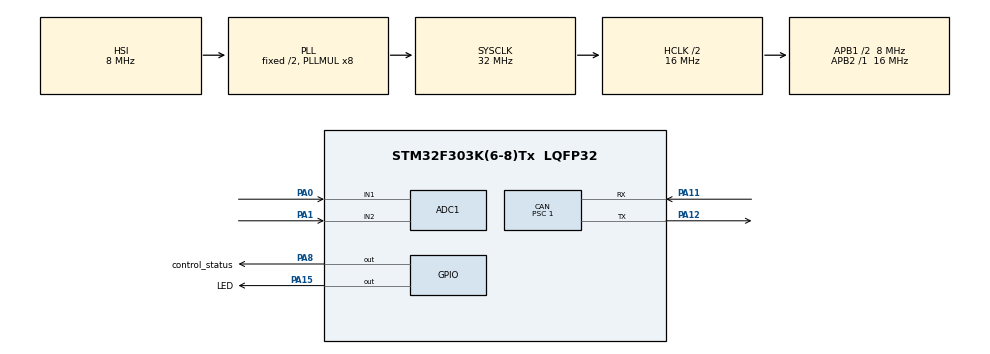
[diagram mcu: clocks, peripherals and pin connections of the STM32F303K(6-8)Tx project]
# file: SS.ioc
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ADC1.Channel-0\#ChannelRegularConversion=ADC_CHANNEL_1
ADC1.ContinuousConvMode=ENABLE
ADC1.NbrOfConversionFlag=1
ADC1.Offset-0\#ChannelRegularConversion=0
ADC1.OffsetNumber-0\#ChannelRegularConversion=ADC_OFFSET_NONE
ADC1.Rank-0\#ChannelRegularConversion=1
ADC1.SamplingTime-0\#ChannelRegularConversion=ADC_SAMPLETIME_1CYCLE_5
ADC1.SubFamily=STM32F303x8
ADC1.master=1
CAN.ABOM=ENABLE
CAN.BS1=CAN_BS1_13TQ
CAN.BS2=CAN_BS2_2TQ
CAN.CalculateBaudRate=500000
CAN.CalculateTimeBit=2000
CAN.CalculateTimeQuantum=125.0
CAN.Mode=CAN_MODE_NORMAL
CAN.NART=ENABLE
CAN.Prescaler=1
Mcu.Family=STM32F3
Mcu.Name=STM32F303K(6-8)Tx
Mcu.Package=LQFP32
NVIC.CAN_RX0_IRQn=true\:0\:0\:false\:false\:true\:true\:true\:true
NVIC.CAN_SCE_IRQn=true\:0\:0\:false\:false\:true\:true\:true\:true
NVIC.CAN_TX_IRQn=true\:0\:0\:false\:false\:true\:true\:true\:true
NVIC.PriorityGroup=NVIC_PRIORITYGROUP_4
PA0.Mode=IN1-Single-Ended
PA0.Signal=ADC1_IN1
PA1.Mode=IN2-Single-Ended
PA1.Signal=ADC1_IN2
PA11.Mode=CAN_Activate
PA11.Signal=CAN_RX
PA12.Mode=CAN_Activate
PA12.Signal=CAN_TX
PA15.GPIO_Label=LED
PA15.Signal=GPIO_Output
PA8.GPIO_Label=control_status
PA8.Signal=GPIO_Output
ProjectManager.HeapSize=0x200
ProjectManager.StackSize=0x400
ProjectManager.TargetToolchain=STM32CubeIDE
RCC.ADC12PRES=RCC_ADC12PLLCLK_DIV16
RCC.AHBCLKDivider=RCC_SYSCLK_DIV2
RCC.AHBFreq_Value=16000000
RCC.APB1CLKDivider=RCC_HCLK_DIV2
RCC.APB1Freq_Value=8000000
RCC.APB1TimFreq_Value=16000000
RCC.APB2Freq_Value=16000000
RCC.APB2TimFreq_Value=16000000
RCC.CortexFreq_Value=16000000
RCC.HCLKFreq_Value=16000000
RCC.HSE_VALUE=8000000
RCC.HSI_VALUE=8000000
RCC.PLLMUL=RCC_PLL_MUL8
RCC.SYSCLKFreq_VALUE=32000000
RCC.SYSCLKSourceVirtual=RCC_SYSCLKSOURCE_PLLCLK
board=custom

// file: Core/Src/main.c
/* USER CODE BEGIN Header */
/**
  ******************************************************************************
  * @file           : main.c
  * @brief          : Main program body
  ******************************************************************************
  * @attention
  *
  * Copyright (c) 2026 STMicroelectronics.
  * All rights reserved.
  *
  * This software is licensed under terms that can be found in the LICENSE file
  * in the root directory of this software component.
  * If no LICENSE file comes with this software, it is provided AS-IS.
  *
  ******************************************************************************
  */
/* USER CODE END Header */
#include "main.h"

/* USER CODE BEGIN Includes */
#include "can_driver.h"
#include "app_sync_tick.h"
/* USER CODE END Includes */

/* USER CODE BEGIN PTD */
#define ADC_THRESHOLD         100      // Ponizej tej wartosci ADC -> podnapiecie
#define ADC_HYSTERESIS        20       // Powrot do normy dopiero powyzej THRESHOLD+HYST
#define LED_TOGGLE_MS         200      // Okres migania LED [ms]

/* DIAGNOSTYKA RX - przelacznik do bisekcji problemu z callbackiem:
 *   1 = przyjmuj KAZDA ramke z magistrali (filtr wylaczony)
 *   0 = tryb docelowy, tylko SAFE_STATE_ACTIV_ID
 * Jesli przy 1 callback wchodzi, a przy 0 nie - CANtool wysyla ramke
 * w zlym formacie (Extended zamiast Standard albo Remote zamiast Data). */
#define CAN_RX_PROMISCUOUS    1

/* Ramka SafeState_NODE - heartbeat wezla. ID i okres wg CAN_DB.dbc
 * (BO_ 3, GenMsgCycleTime 5000). Leci bezwarunkowo, bez kodow bledow. */
#define CAN_TX_ID_SAFESTATE   SAFE_STATE_NODE_ID
#define CAN_PERIOD_SS_MS      5000

/* Ramka SafeState_Activ - dokladana do schedulera na czas podnapiecia i
 * usuwana po powrocie do normy. Wg CAN_DB.dbc (BO_ 1) ma 8 bajtow i nie ma
 * zdefiniowanych sygnalow, dlatego payload jest zerowy.
 * DBC podaje GenMsgCycleTime 0 (ramka zdarzeniowa) - okres ponizej jest
 * naszym wyborem i wymaga uzgodnienia z zespolem. */
#define CAN_TX_ID_SS_ACTIV      SAFE_STATE_ACTIV_ID
#define CAN_DLC_SS_ACTIV        8
#define CAN_PERIOD_SS_ACTIV_MS  5000

/* Watchdog komendy throttle od JETSONa (BO_ 550 / BO_ 551).
 * Ramka z THROTTLE_ARM_VALUE uzbraja i odswieza stoper. Gdy przez
 * THROTTLE_TIMEOUT_MS nie przyjdzie kolejna, wysylamy te sama ramke
 * z THROTTLE_SAFE_VALUE i rozbrajamy stoper do nastepnego uzbrojenia. */
#define THROTTLE_DLC            8
#define THROTTLE_ARM_VALUE      1      // wartosc, ktora uzbraja stoper
#define THROTTLE_SAFE_VALUE     (-1)   // wysylane po przekroczeniu czasu
#define THROTTLE_TIMEOUT_MS     150
/* USER CODE END PTD */

ADC_HandleTypeDef hadc1;

CAN_HandleTypeDef hcan;

/* USER CODE BEGIN PV */
static volatile uint32_t adcValue = 0;
static volatile uint8_t rxHighPrio = 0; // High priority message received flag

/* Liczniki diagnostyczne - do podgladu debuggerem */
static volatile uint32_t canBusOffCount = 0;
static volatile uint32_t canErrorCount  = 0;

/* Stan detekcji podnapiecia (z histereza) */
static uint8_t adcUnderVoltage = 0;             // 1 = jestesmy ponizej progu
static volatile uint32_t ssActivCount = 0;      // ile razy weszlismy w podnapiecie

/* Diagnostyka RX - co faktycznie przyszlo z magistrali */
static volatile uint32_t canRxCount   = 0;
static volatile uint32_t canRxLastId  = 0;
static volatile uint8_t  canRxLastIde = 0;  // 0 = Standard, 4 = Extended
static volatile uint8_t  canRxLastRtr = 0;  // 0 = Data,     2 = Remote
static volatile uint8_t  canRxLastDlc = 0;

/* Watchdog komendy throttle - jeden wpis na silnik.
 * Pola pisane sa z przerwania RX, czytane w petli glownej -> volatile. */
typedef struct {
    uint16_t          id;             // ID monitorowanej ramki
    volatile uint8_t  armed;          // 1 = stoper biegnie
    volatile uint32_t lastRxTick;     // moment ostatniej ramki uzbrajajacej
    volatile uint32_t timeoutCount;   // diagnostyka: ile razy zadzialal
} ThrottleWatchdog_t;

static ThrottleWatchdog_t throttleWd[] = {
    { .id = JETSON_ENGINE_LEFT_RPDO1_ID  },
    { .id = JETSON_ENGINE_RIGHT_RPDO1_ID },
};
#define THROTTLE_WD_COUNT ((uint8_t)(sizeof(throttleWd) / sizeof(throttleWd[0])))

#if !CAN_RX_PROMISCUOUS
/* ID przyjmowane przez ten wezel - pozostale ramki odrzuca sprzet,
 * wiec callback RX w ogole sie dla nich nie uruchamia */
static const uint16_t canAcceptedIds[] = {
    SAFE_STATE_ACTIV_ID,            // 1   - aktywacja stanu bezpiecznego
    JETSON_ENGINE_LEFT_RPDO1_ID,    // 550 - throttle lewy
    JETSON_ENGINE_RIGHT_RPDO1_ID,   // 551 - throttle prawy
};
#define CAN_ACCEPTED_ID_COUNT ((uint8_t)(sizeof(canAcceptedIds) / sizeof(canAcceptedIds[0])))
#endif

static struct CAN_scheduledMsgList canScheduler = {0};

typedef struct {
    uint16_t ErrorCode;
    uint8_t  Severity;
    uint8_t  Node_Execution_Halted;
    uint8_t  Reserved;
    uint64_t Error_Specific_Data;
} SafeState_t;

static SafeState_t safeStateData = {0};
/* USER CODE END PV */

void SystemClock_Config(void);
static void MX_GPIO_Init(void);
static void MX_ADC1_Init(void);
static void MX_CAN_Init(void);

/* USER CODE BEGIN 0 */

/**
  * @brief Pakuje ramke SafeState_NODE wg CAN_DB.dbc (BO_ 3)
  *
  * ErrorCode 0|16@1+ | Reserved 16|4@1+ | Severity 20|3@1+
  * Node_Execution_Halted 23|1@1+ | Error_Specific_Data 24|40@1+
  */
static void SafeState_getData(uint8_t *data, void *context)
{
    (void)context;

    // Bajty 0-1: ErrorCode
    data[0] =  safeStateData.ErrorCode       & 0xFF;
    data[1] = (safeStateData.ErrorCode >> 8) & 0xFF;

    // Bajt 2: bits 16-23
    // [3:0] = Reserved, [6:4] = Severity, [7] = Node_Execution_Halted
    data[2] =  (safeStateData.Reserved            & 0x0F)
             | ((safeStateData.Severity            & 0x07) << 4)
             | ((safeStateData.Node_Execution_Halted & 0x01) << 7);

    // Bajty 3-7: Error_Specific_Data (40 bitów)
    data[3] =  safeStateData.Error_Specific_Data        & 0xFF;
    data[4] = (safeStateData.Error_Specific_Data >>  8) & 0xFF;
    data[5] = (safeStateData.Error_Specific_Data >> 16) & 0xFF;
    data[6] = (safeStateData.Error_Specific_Data >> 24) & 0xFF;
    data[7] = (safeStateData.Error_Specific_Data >> 32) & 0xFF;
}

/* USER CODE END 0 */

int main(void)
{

  /* MCU Configuration--------------------------------------------------------*/

  /* Reset of all peripherals, Initializes the Flash interface and the Systick. */
  HAL_Init();

  /* Configure the system clock */
  SystemClock_Config();

  /* Initialize all configured peripherals */
  MX_GPIO_Init();
  MX_ADC1_Init();
  MX_CAN_Init();
  /* USER CODE BEGIN 2 */

  if (HAL_ADCEx_Calibration_Start(&hadc1, ADC_SINGLE_ENDED) != HAL_OK)
      Error_Handler();

#if CAN_RX_PROMISCUOUS
  if (CAN_init(&hcan, NULL, 0) != HAL_OK)          // filtr wylaczony - patrz CAN_RX_PROMISCUOUS
#else
  if (CAN_init(&hcan, canAcceptedIds, CAN_ACCEPTED_ID_COUNT) != HAL_OK)
#endif
      Error_Handler();

  if (HAL_ADC_Start(&hadc1) != HAL_OK)
      Error_Handler();

  // Ramka SafeState_NODE - heartbeat wezla, leci bezwarunkowo
  struct CAN_scheduledMsg safeStateMsg = {
      .header = {
          .StdId              = CAN_TX_ID_SAFESTATE,
          .ExtId              = 0,
          .IDE                = CAN_ID_STD,
          .RTR                = CAN_RTR_DATA,
          .DLC                = 8,
          .TransmitGlobalTime = DISABLE,
      },
      .periodMs = CAN_PERIOD_SS_MS,
      .getData  = SafeState_getData,
      .context  = NULL,
  };
  if (CAN_addScheduledMessage(safeStateMsg, &canScheduler) != HAL_OK)
      Error_Handler();

  SyncTickTest_Init(&canScheduler);

  /* USER CODE END 2 */

  /* Infinite loop */
  /* USER CODE BEGIN WHILE */

  /* Szablon ramki SafeState_Activ. Nie jest rejestrowana od razu - trafia do
   * schedulera dopiero na czas podnapiecia. getData = NULL, bo payload ma byc
   * zerowy, a CAN_handleScheduled zeruje bufor przed wyslaniem. */
  struct CAN_scheduledMsg ssActivMsg = {
      .header = {
          .StdId              = CAN_TX_ID_SS_ACTIV,
          .ExtId              = 0,
          .IDE                = CAN_ID_STD,
          .RTR                = CAN_RTR_DATA,
          .DLC                = CAN_DLC_SS_ACTIV,
          .TransmitGlobalTime = DISABLE,
      },
      .periodMs = CAN_PERIOD_SS_ACTIV_MS,
      .getData  = NULL,
      .context  = NULL,
  };

  uint32_t lastLedToggle = 0;
  HAL_GPIO_WritePin(GPIOA, control_status_Pin, GPIO_PIN_SET);
  while (1)
  {
	  // 1. Pomiar ADC (tryb continuous - czekamy max 1 ms na EOC)
	  if (HAL_ADC_PollForConversion(&hadc1, 1) == HAL_OK)
	  {
		  adcValue = HAL_ADC_GetValue(&hadc1);
	  }

	  // 2. Detekcja zbocza podnapiecia. Na czas trwania bledu ramka
	  //    SafeState_Activ dolacza do schedulera i leci cyklicznie obok NODE.
	  //    Histereza chroni magistrale przed lawina, gdy pomiar drga wokol progu.
	  if (!adcUnderVoltage)
	  {
		  if (adcValue < ADC_THRESHOLD)
		  {
			  adcUnderVoltage = 1;
			  ssActivCount++;
			  (void)CAN_addScheduledMessage(ssActivMsg, &canScheduler);
		  }
	  }
	  else
	  {
		  if (adcValue > (ADC_THRESHOLD + ADC_HYSTERESIS))
		  {
			  adcUnderVoltage = 0;
			  (void)CAN_removeScheduledMessage(CAN_TX_ID_SS_ACTIV, &canScheduler);
		  }
	  }

	  uint32_t now = HAL_GetTick();

	  // 3. Watchdog komendy throttle. Stoper uzbraja przerwanie RX; jesli przez
	  //    THROTTLE_TIMEOUT_MS nie przyjdzie kolejna komenda, wysylamy raz
	  //    wartosc bezpieczna i rozbrajamy stoper.
	  for (uint8_t i = 0U; i < THROTTLE_WD_COUNT; i++)
	  {
		  if (!throttleWd[i].armed)
		  {
			  continue;
		  }
		  if ((uint32_t)(now - throttleWd[i].lastRxTick) < THROTTLE_TIMEOUT_MS)
		  {
			  continue;
		  }

		  uint8_t payload[THROTTLE_DLC] = {0};
		  payload[0] = (uint8_t)( (uint16_t)THROTTLE_SAFE_VALUE       & 0xFF);
		  payload[1] = (uint8_t)(((uint16_t)THROTTLE_SAFE_VALUE >> 8) & 0xFF);

		  if (CAN_sendStdFrame(&hcan, throttleWd[i].id,
		                       payload, THROTTLE_DLC) == HAL_OK)
		  {
			  throttleWd[i].armed = 0;
			  throttleWd[i].timeoutCount++;
		  }
	  }

	  // 4. Wysylka ramek okresowych (o tempie decyduje periodMs, nie liczba wywolan)
	  CAN_handleScheduled(&hcan, &canScheduler);

	  // 5. Reakcja na odebrana ramke wysokiego priorytetu
	  if (rxHighPrio)
	  {
		  rxHighPrio = 0;
		  HAL_GPIO_WritePin(GPIOA, control_status_Pin, GPIO_PIN_RESET);
	  }

	  // 6. Heartbeat LED
	  if ((now - lastLedToggle) >= LED_TOGGLE_MS)
	  {
		  lastLedToggle = now;
		  HAL_GPIO_TogglePin(GPIOA, LED_Pin);
	  }
    /* USER CODE END WHILE */

  }
}

void SystemClock_Config(void)
{
  RCC_OscInitTypeDef RCC_OscInitStruct = {0};
  RCC_ClkInitTypeDef RCC_ClkInitStruct = {0};
  RCC_PeriphCLKInitTypeDef PeriphClkInit = {0};

  /** Initializes the RCC Oscillators according to the specified parameters
  * in the RCC_OscInitTypeDef structure.
  */
  RCC_OscInitStruct.OscillatorType = RCC_OSCILLATORTYPE_HSI;
  RCC_OscInitStruct.HSIState = RCC_HSI_ON;
  RCC_OscInitStruct.HSICalibrationValue = RCC_HSICALIBRATION_DEFAULT;
  RCC_OscInitStruct.PLL.PLLState = RCC_PLL_ON;
  RCC_OscInitStruct.PLL.PLLSource = RCC_PLLSOURCE_HSI;
  RCC_OscInitStruct.PLL.PLLMUL = RCC_PLL_MUL8;
  if (HAL_RCC_OscConfig(&RCC_OscInitStruct) != HAL_OK)
  {
    Error_Handler();
  }

  /** Initializes the CPU, AHB and APB buses clocks
  */
  RCC_ClkInitStruct.ClockType = RCC_CLOCKTYPE_HCLK|RCC_CLOCKTYPE_SYSCLK
                              |RCC_CLOCKTYPE_PCLK1|RCC_CLOCKTYPE_PCLK2;
  RCC_ClkInitStruct.SYSCLKSource = RCC_SYSCLKSOURCE_PLLCLK;
  RCC_ClkInitStruct.AHBCLKDivider = RCC_SYSCLK_DIV2;
  RCC_ClkInitStruct.APB1CLKDivider = RCC_HCLK_DIV2;
  RCC_ClkInitStruct.APB2CLKDivider = RCC_HCLK_DIV1;

  if (HAL_RCC_ClockConfig(&RCC_ClkInitStruct, FLASH_LATENCY_0) != HAL_OK)
  {
    Error_Handler();
  }
  PeriphClkInit.PeriphClockSelection = RCC_PERIPHCLK_ADC12;
  PeriphClkInit.Adc12ClockSelection = RCC_ADC12PLLCLK_DIV16;
  if (HAL_RCCEx_PeriphCLKConfig(&PeriphClkInit) != HAL_OK)
  {
    Error_Handler();
  }
}

static void MX_ADC1_Init(void)
{

  ADC_MultiModeTypeDef multimode = {0};
  ADC_ChannelConfTypeDef sConfig = {0};

  /** Common config
  */
  hadc1.Instance = ADC1;
  hadc1.Init.ClockPrescaler = ADC_CLOCK_ASYNC_DIV1;
  hadc1.Init.Resolution = ADC_RESOLUTION_12B;
  hadc1.Init.ScanConvMode = ADC_SCAN_DISABLE;
  hadc1.Init.ContinuousConvMode = ENABLE;
  hadc1.Init.DiscontinuousConvMode = DISABLE;
  hadc1.Init.ExternalTrigConvEdge = ADC_EXTERNALTRIGCONVEDGE_NONE;
  hadc1.Init.ExternalTrigConv = ADC_SOFTWARE_START;
  hadc1.Init.DataAlign = ADC_DATAALIGN_RIGHT;
  hadc1.Init.NbrOfConversion = 1;
  hadc1.Init.DMAContinuousRequests = DISABLE;
  hadc1.Init.EOCSelection = ADC_EOC_SINGLE_CONV;
  hadc1.Init.LowPowerAutoWait = DISABLE;
  hadc1.Init.Overrun = ADC_OVR_DATA_OVERWRITTEN;
  if (HAL_ADC_Init(&hadc1) != HAL_OK)
  {
    Error_Handler();
  }

  /** Configure the ADC multi-mode
  */
  multimode.Mode = ADC_MODE_INDEPENDENT;
  if (HAL_ADCEx_MultiModeConfigChannel(&hadc1, &multimode) != HAL_OK)
  {
    Error_Handler();
  }

  /** Configure Regular Channel
  */
  sConfig.Channel = ADC_CHANNEL_1;
  sConfig.Rank = ADC_REGULAR_RANK_1;
  sConfig.SingleDiff = ADC_SINGLE_ENDED;
  sConfig.SamplingTime = ADC_SAMPLETIME_1CYCLE_5;
  sConfig.OffsetNumber = ADC_OFFSET_NONE;
  sConfig.Offset = 0;
  if (HAL_ADC_ConfigChannel(&hadc1, &sConfig) != HAL_OK)
  {
    Error_Handler();
  }

}

static void MX_CAN_Init(void)
{

  hcan.Instance = CAN;
  hcan.Init.Prescaler = 1;
  hcan.Init.Mode = CAN_MODE_NORMAL;
  hcan.Init.SyncJumpWidth = CAN_SJW_1TQ;
  hcan.Init.TimeSeg1 = CAN_BS1_13TQ;
  hcan.Init.TimeSeg2 = CAN_BS2_2TQ;
  hcan.Init.TimeTriggeredMode = DISABLE;
  hcan.Init.AutoBusOff = ENABLE;
  hcan.Init.AutoWakeUp = DISABLE;
  hcan.Init.AutoRetransmission = ENABLE;
  hcan.Init.ReceiveFifoLocked = DISABLE;
  hcan.Init.TransmitFifoPriority = DISABLE;
  if (HAL_CAN_Init(&hcan) != HAL_OK)
  {
    Error_Handler();
  }

}

static void MX_GPIO_Init(void)
{
  GPIO_InitTypeDef GPIO_InitStruct = {0};

  /* GPIO Ports Clock Enable */
  __HAL_RCC_GPIOA_CLK_ENABLE();

  /*Configure GPIO pin Output Level */
  HAL_GPIO_WritePin(GPIOA, control_status_Pin|LED_Pin, GPIO_PIN_RESET);

  /*Configure GPIO pins : control_status_Pin LED_Pin */
  GPIO_InitStruct.Pin = control_status_Pin|LED_Pin;
  GPIO_InitStruct.Mode = GPIO_MODE_OUTPUT_PP;
  GPIO_InitStruct.Pull = GPIO_NOPULL;
  GPIO_InitStruct.Speed = GPIO_SPEED_FREQ_LOW;
  HAL_GPIO_Init(GPIOA, &GPIO_InitStruct);

}

/* USER CODE BEGIN 4 */
/**
  * @brief Callback ramki odebranej w FIFO0
  *
  * W trybie docelowym (CAN_RX_PROMISCUOUS = 0) filtr sprzetowy przepuszcza
  * wylacznie SAFE_STATE_ACTIV_ID, wiec kazda ramka podnosi flage bez
  * sprawdzania ID. Przy CAN_RX_PROMISCUOUS = 1 wchodza tu wszystkie ramki -
  * sluzy to wylacznie diagnostyce.
  */
void HAL_CAN_RxFifo0MsgPendingCallback(CAN_HandleTypeDef *hcanPtr)
{
    CAN_RxHeaderTypeDef rxHeader;
    uint8_t rxData[CAN_MAX_DLC];

    if (HAL_CAN_GetRxMessage(hcanPtr, CAN_RX_FIFO0, &rxHeader, rxData) != HAL_OK)
    {
        return;
    }

    /* Slad dla debuggera - pokazuje, co naprawde wyslal CANtool */
    canRxCount++;
    canRxLastId  = (rxHeader.IDE == CAN_ID_STD) ? rxHeader.StdId : rxHeader.ExtId;
    canRxLastIde = (uint8_t)rxHeader.IDE;
    canRxLastRtr = (uint8_t)rxHeader.RTR;
    canRxLastDlc = (uint8_t)rxHeader.DLC;

    /* Interesuja nas wylacznie standardowe ramki danych */
    if (rxHeader.IDE != CAN_ID_STD || rxHeader.RTR != CAN_RTR_DATA)
    {
        return;
    }

    /* Aktywacja stanu bezpiecznego */
    if (rxHeader.StdId == SAFE_STATE_ACTIV_ID)
    {
        rxHighPrio = 1;
        return;
    }

    /* Komenda throttle - uzbrojenie / odswiezenie stopera */
    for (uint8_t i = 0U; i < THROTTLE_WD_COUNT; i++)
    {
        if (rxHeader.StdId != throttleWd[i].id)
        {
            continue;
        }

        if (rxHeader.DLC >= 2U)
        {
            /* Sygnal 0|16@1- : int16, little endian */
            int16_t throttle = (int16_t)((uint16_t)rxData[0] |
                                        ((uint16_t)rxData[1] << 8));

            if (throttle == THROTTLE_ARM_VALUE)
            {
                throttleWd[i].lastRxTick = HAL_GetTick();
                throttleWd[i].armed      = 1;
            }
        }
        return;
    }
}

/**
  * @brief Callback bledow magistrali CAN (warning / passive / bus-off)
  *
  * Przy bus-off sprzet odzyska magistrale sam (ABOM = ENABLE), ale ramki
  * wiszace w mailboxach TX moglyby byc juz nieaktualne - przerywamy je,
  * scheduler i tak wysle swieze dane w kolejnym obiegu petli.
  */
void HAL_CAN_ErrorCallback(CAN_HandleTypeDef *hcanPtr)
{
    canErrorCount++;

    if (hcanPtr->ErrorCode & HAL_CAN_ERROR_BOF)
    {
        canBusOffCount++;
        HAL_CAN_AbortTxRequest(hcanPtr,
            CAN_TX_MAILBOX0 | CAN_TX_MAILBOX1 | CAN_TX_MAILBOX2);
    }

    hcanPtr->ErrorCode = HAL_CAN_ERROR_NONE;
}

/* USER CODE END 4 */

void Error_Handler(void)
{
  __disable_irq();
  while (1)
  {
  }
}
